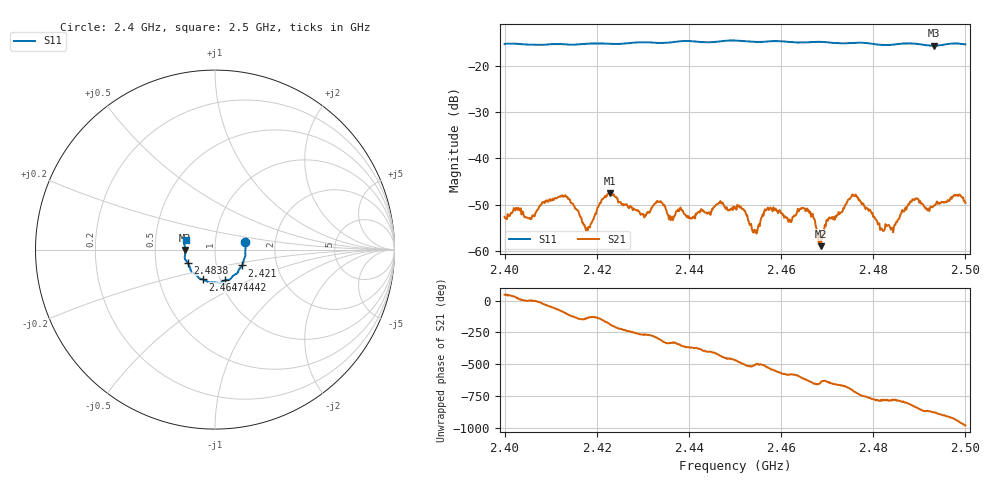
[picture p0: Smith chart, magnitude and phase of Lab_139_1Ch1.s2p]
# Hz S RI R 50
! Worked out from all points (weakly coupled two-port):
!   601 points, 2.4 GHz to 2.5 GHz, reference 50 ohm
!   highest |S21| = -47.45 dB at 2.4228 GHz (marker M1); lowest = -59.0 dB at 2.4687 GHz (marker M2)
!   lowest |S11| = -15.6 dB at 2.4932 GHz (marker M3), VSWR 1.40, Z = 35.8 - j0.106 ohm
!   |S11| at or under -10 dB: start of sweep to end of sweep
!   S12 and S22 are empty: the file has one direction only
!   S11 on the Smith chart (normalised r, x): 2.4 GHz: 1.40, +0.12; 2.421 GHz: 1.33, -0.24; 2.4442 GHz: 1.05, -0.37; 2.4647 GHz: 0.83, -0.29; 2.4838 GHz: 0.73, -0.11; 2.5 GHz: 0.72, +0.08
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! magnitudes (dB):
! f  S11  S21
! 2.4 GHz  -15.2  -52.6
! 2.4128 GHz  -15.3  -48.3
! 2.4167 GHz  -15.3  -52.9
! 2.4182 GHz  -15.2  -54.8
! 2.421 GHz  -15.1  -49.1
! 2.4228 GHz  -15.2  -47.5
! 2.43 GHz  -14.8  -52.0
! 2.4333 GHz  -15.0  -49.4
! 2.4362 GHz  -14.9  -53.0
! 2.4442 GHz  -14.9  -51.7
! 2.45 GHz  -14.5  -50.5
! 2.4543 GHz  -14.8  -56.0
! 2.4568 GHz  -14.7  -51.1
! 2.4647 GHz  -14.9  -50.8
! 2.4667 GHz  -14.8  -52.3
! 2.4687 GHz  -14.8  -59.0
! 2.4758 GHz  -15.0  -48.1
! 2.4833 GHz  -15.5  -54.4
! 2.4838 GHz  -15.4  -55.4
! 2.489 GHz  -15.2  -49.0
! 2.4932 GHz  -15.6  -50.2
! 2.5 GHz  -15.3  -49.6
